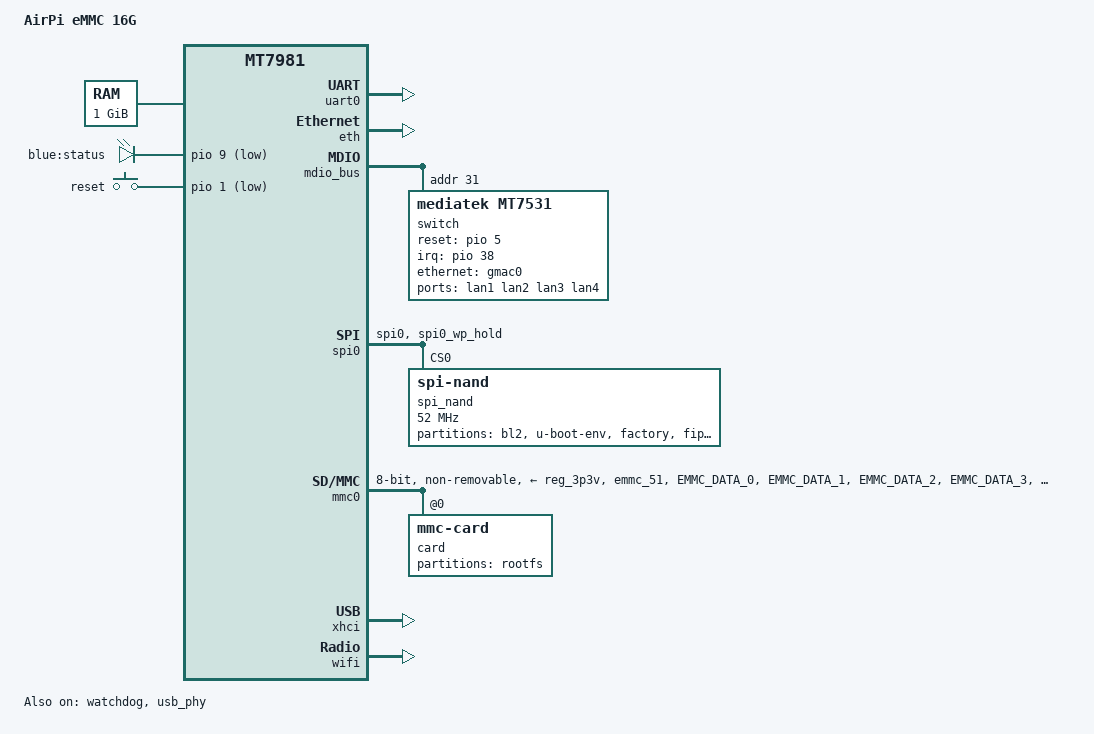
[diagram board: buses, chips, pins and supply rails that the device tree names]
// SPDX-License-Identifier: GPL-2.0-or-later OR MIT

/dts-v1/;

#include "mt7981b.dtsi"

/ {
	model = "AirPi eMMC 16G";
	compatible = "airpi,mt7981b-emmc16g", "mediatek,mt7981";

	aliases {
		serial0 = &uart0;
		led-boot = &led_status;
		led-failsafe = &led_status;
		led-running = &led_status;
		led-upgrade = &led_status;
	};

	chosen {
		stdout-path = "serial0:115200n8";
	};

	memory {
		reg = <0 0x40000000 0 0x40000000>;
	};

	leds {
		compatible = "gpio-leds";

		led_status: status {
			label = "blue:status";
			gpios = <&pio 9 GPIO_ACTIVE_LOW>;
			default-state = "on";
		};
	};

	keys {
		compatible = "gpio-keys";

		reset {
			label = "reset";
			linux,code = <KEY_RESTART>;
			gpios = <&pio 1 GPIO_ACTIVE_LOW>;
		};
	};
};

&uart0 {
	status = "okay";
};

&watchdog {
	status = "okay";
};

&eth {
	status = "okay";

	gmac0: mac@0 {
		compatible = "mediatek,eth-mac";
		reg = <0>;
		phy-mode = "2500base-x";

		nvmem-cells = <&macaddr_factory_4>;
		nvmem-cell-names = "mac-address";

		fixed-link {
			speed = <2500>;
			full-duplex;
			pause;
		};
	};

	gmac1: mac@1 {
		compatible = "mediatek,eth-mac";
		reg = <1>;
		phy-mode = "gmii";
		phy-handle = <&int_gbe_phy>;

		nvmem-cells = <&macaddr_factory_a>;
		nvmem-cell-names = "mac-address";
	};
};

&mdio_bus {
	switch: switch@1f {
		compatible = "mediatek,mt7531";
		reg = <31>;
		interrupt-controller;
		#interrupt-cells = <1>;
		interrupt-parent = <&pio>;
		interrupts = <38 IRQ_TYPE_LEVEL_HIGH>;
		reset-gpios = <&pio 5 GPIO_ACTIVE_HIGH>;

		ports {
			#address-cells = <1>;
			#size-cells = <0>;

			port@0 {
				reg = <0>;
				label = "lan1";
			};

			port@1 {
				reg = <1>;
				label = "lan2";
			};

			port@2 {
				reg = <2>;
				label = "lan3";
			};

			port@3 {
				reg = <3>;
				label = "lan4";
			};

			port@6 {
				reg = <6>;
				ethernet = <&gmac0>;
				phy-mode = "2500base-x";

				fixed-link {
					speed = <2500>;
					full-duplex;
					pause;
				};
			};
		};
	};
};

&spi0 {
	pinctrl-names = "default";
	pinctrl-0 = <&spi0_flash_pins>;
	status = "okay";

	spi_nand@0 {
		compatible = "spi-nand";
		#address-cells = <1>;
		#size-cells = <1>;
		reg = <0>;

		spi-max-frequency = <52000000>;
		spi-tx-buswidth = <4>;
		spi-rx-buswidth = <4>;

		partitions {
			compatible = "fixed-partitions";
			#address-cells = <1>;
			#size-cells = <1>;

			partition@0 {
				label = "bl2";
				reg = <0x0 0x100000>;
				read-only;
			};

			partition@100000 {
				label = "u-boot-env";
				reg = <0x100000 0x80000>;
			};

			factory: partition@180000 {
				label = "factory";
				reg = <0x180000 0x200000>;
				read-only;

				nvmem-layout {
					compatible = "fixed-layout";
					#address-cells = <1>;
					#size-cells = <1>;

					macaddr_factory_4: macaddr@4 {
						reg = <0x4 0x6>;
					};

					macaddr_factory_a: macaddr@a {
						reg = <0xa 0x6>;
					};
				};
			};

			partition@380000 {
				label = "fip";
				reg = <0x380000 0x200000>;
				read-only;
			};

			partition@580000 {
				label = "ubi";
				reg = <0x580000 0x7a80000>;
			};
		};
	};
};

&mmc0 {
	pinctrl-names = "default", "state_uhs";
	pinctrl-0 = <&mmc0_pins_default>;
	pinctrl-1 = <&mmc0_pins_uhs>;
	bus-width = <8>;
	max-frequency = <200000000>;
	cap-mmc-highspeed;
	mmc-hs200-1_8v;
	mmc-hs400-1_8v;
	hs400-ds-delay = <0x14014>;
	vmmc-supply = <&reg_3p3v>;
	vqmmc-supply = <&reg_1p8v>;
	non-removable;
	no-sd;
	no-sdio;
	status = "okay";

	card@0 {
		compatible = "mmc-card";
		reg = <0>;

		block {
			compatible = "block-device";
			partitions {
				emmc_rootfs: partition@0 {
					label = "rootfs";
				};
			};
		};
	};
};

&pio {
	mmc0_pins_default: mmc0-pins-default {
		mux {
			function = "emmc";
			groups = "emmc_51";
		};
		conf-cmd-dat {
			pins = "EMMC_DATA_0", "EMMC_DATA_1", "EMMC_DATA_2",
			       "EMMC_DATA_3", "EMMC_DATA_4", "EMMC_DATA_5",
			       "EMMC_DATA_6", "EMMC_DATA_7", "EMMC_CMD";
			input-enable;
			drive-strength = <4>;
			mediatek,pull-up-adv = <1>;
		};
		conf-clk {
			pins = "EMMC_CK";
			drive-strength = <6>;
			mediatek,pull-down-adv = <2>;
		};
		conf-ds {
			pins = "EMMC_DSL";
			mediatek,pull-down-adv = <2>;
		};
		conf-rst {
			pins = "EMMC_RSTB";
			drive-strength = <4>;
			mediatek,pull-up-adv = <1>;
		};
	};

	mmc0_pins_uhs: mmc0-pins-uhs {
		mux {
			function = "emmc";
			groups = "emmc_51";
		};
		conf-cmd-dat {
			pins = "EMMC_DATA_0", "EMMC_DATA_1", "EMMC_DATA_2",
			       "EMMC_DATA_3", "EMMC_DATA_4", "EMMC_DATA_5",
			       "EMMC_DATA_6", "EMMC_DATA_7", "EMMC_CMD";
			input-enable;
			drive-strength = <4>;
			mediatek,pull-up-adv = <1>;
		};
		conf-clk {
			pins = "EMMC_CK";
			drive-strength = <6>;
			mediatek,pull-down-adv = <2>;
		};
		conf-ds {
			pins = "EMMC_DSL";
			mediatek,pull-down-adv = <2>;
		};
		conf-rst {
			pins = "EMMC_RSTB";
			drive-strength = <4>;
			mediatek,pull-up-adv = <1>;
		};
	};

	spi0_flash_pins: spi0-pins {
		mux {
			function = "spi";
			groups = "spi0", "spi0_wp_hold";
		};
	};
};

&reg_1p8v {
	regulator-always-on;
};

&reg_3p3v {
	regulator-always-on;
};

&usb_phy {
	status = "okay";
};

&xhci {
	status = "okay";
};

&wifi {
	status = "okay";

	nvmem-cells = <&macaddr_factory_4>;
	nvmem-cell-names = "mac-address";
	mac-address-increment = <2>;
};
